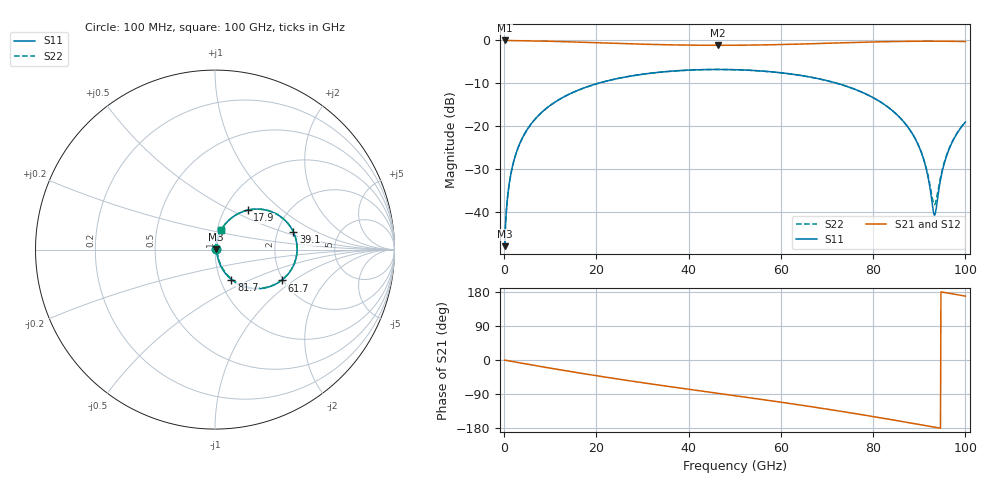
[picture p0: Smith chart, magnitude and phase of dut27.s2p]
! Touchstone file exported from HFSS 2026.1.0
!  File:  C:/ffzhzh/LocalFiles/Ansys_Project_Files/temp_train_RDL_27_1783497921_31944.aedt
!  Generated:  04:06:58 PM Jul  8, 2026
!  Design:  RDL
!  Project:  temp_train_RDL_27_1783497921_31944
! Variables:
!  h_bsmrdl = 2um
!  h_ox = 20um
!  h_rdl = 5um
!  h_sub = 80um
!  h_tmrdl = 3.2um
!  h_tsv = 80um
!  h_via = 3um
!  l_bsmrdl = 300um
!  l_sub = 1047.6um
!  l_tmrdl = 647.6um
!  m_sub = 200um
!  pitch = 40.1um
!  r_tsv = 6um
!  s_tmrdl = 10um
!  w_bsmrdl = 18um
!  w_sub = 500um
!  w_tmrdl = 22.77um
!  x_tsv_center1 = 658.985um
!  x_tsv_center2 = 976.985um
!  x_tsv_center3 = 1647.355um
!  x_tsv_center4 = 1965.355um
!  x_tsv_center5 = 2635.725um
!  x_tsv_center6 = 2953.725um
# GHz S MA R 50.000000
! Terminal data exported
! Port[1] = TM_RDL1_1_T1
! Port[2] = TM_RDL1_1_T2
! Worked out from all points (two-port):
!   1000 points, 100 MHz to 100 GHz, reference 50 ohm
!   highest |S21| = -0.03 dB at 100 MHz (marker M1); lowest = -1.2 dB at 46.4 GHz (marker M2)
!   |S21| within 3 dB of the highest: start of sweep to end of sweep
!   lowest |S11| = -48.0 dB at 100 MHz (marker M3), VSWR 1.01, Z = 50.3 + j0.215 ohm
!   |S11| at or under -10 dB: start of sweep to 20.44 GHz; 72.14 GHz to end of sweep
!   |S22| runs from -48.0 to -6.8 dB; largest |S21 - S12| = 2e-14
!   S11 on the Smith chart (normalised r, x): 100 MHz: 1.01, +0.00; 17.9 GHz: 1.28, +0.61; 39.1 GHz: 2.44, +0.61; 61.7 GHz: 1.96, -0.81; 81.7 GHz: 1.13, -0.39; 100 GHz: 1.04, +0.23
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0.1  0.004001 32.3  0.9966 -0.2  0.9966 -0.2  0.004001 32.3
! Gamma 0 0 0 0
! Port Impedance 50 0 50 0
0.9  0.01771 73.8  0.9955 -2.0  0.9955 -2.0  0.01771 73.8
1.6  0.03031 77.6  0.9949 -3.5  0.9949 -3.5  0.03031 77.6
4.2  0.0772 76.5  0.9912 -9.2  0.9912 -9.2  0.0772 76.5
9.1  0.1604 67.3  0.9784 -19.6  0.9784 -19.6  0.1604 67.3
16.8  0.2723 52.3  0.9505 -35.3  0.9505 -35.3  0.2722 52.3
17.9  0.2862 50.2  0.9462 -37.4  0.9462 -37.4  0.2861 50.3
33.4  0.4236 22.5  0.8924 -65.9  0.8924 -65.9  0.4234 22.6
39.1  0.4473 12.9  0.8808 -75.7  0.8808 -75.7  0.4471 13.0
46.4  0.4578 0.8  0.8753 -88.0  0.8753 -88.0  0.4576 1.0
50.1  0.4548 -5.3  0.8767 -94.3  0.8767 -94.3  0.4546 -5.1
61.7  0.4085 -24.9  0.8977 -114.3  0.8977 -114.3  0.4082 -24.6
66.7  0.3705 -33.7  0.9129 -123.4  0.9129 -123.4  0.3702 -33.3
81.7  0.1899 -61.3  0.962 -152.8  0.962 -152.8  0.1897 -60.4
83.4  0.1639 -64.4  0.9662 -156.3  0.9662 -156.3  0.1638 -63.3
87.1  0.1048 -70.2  0.9731 -164.0  0.9731 -164.0  0.1047 -68.5
89.8  0.06013 -72.1  0.9761 -169.8  0.9761 -169.8  0.06035 -69.2
91.4  0.03368 -68.5  0.9769 -173.2  0.9769 -173.2  0.03433 -63.4
93.3  0.009149 0.6  0.9769 -177.2  0.9769 -177.2  0.01217 2.4
95  0.03004 70.5  0.9761 179.2  0.9761 179.2  0.03135 65.4
96.1  0.04801 74.9  0.9752 176.8  0.9752 176.8  0.04894 71.6
100  0.1118 73.0  0.9693 168.6  0.9693 168.6  0.1123 71.6
